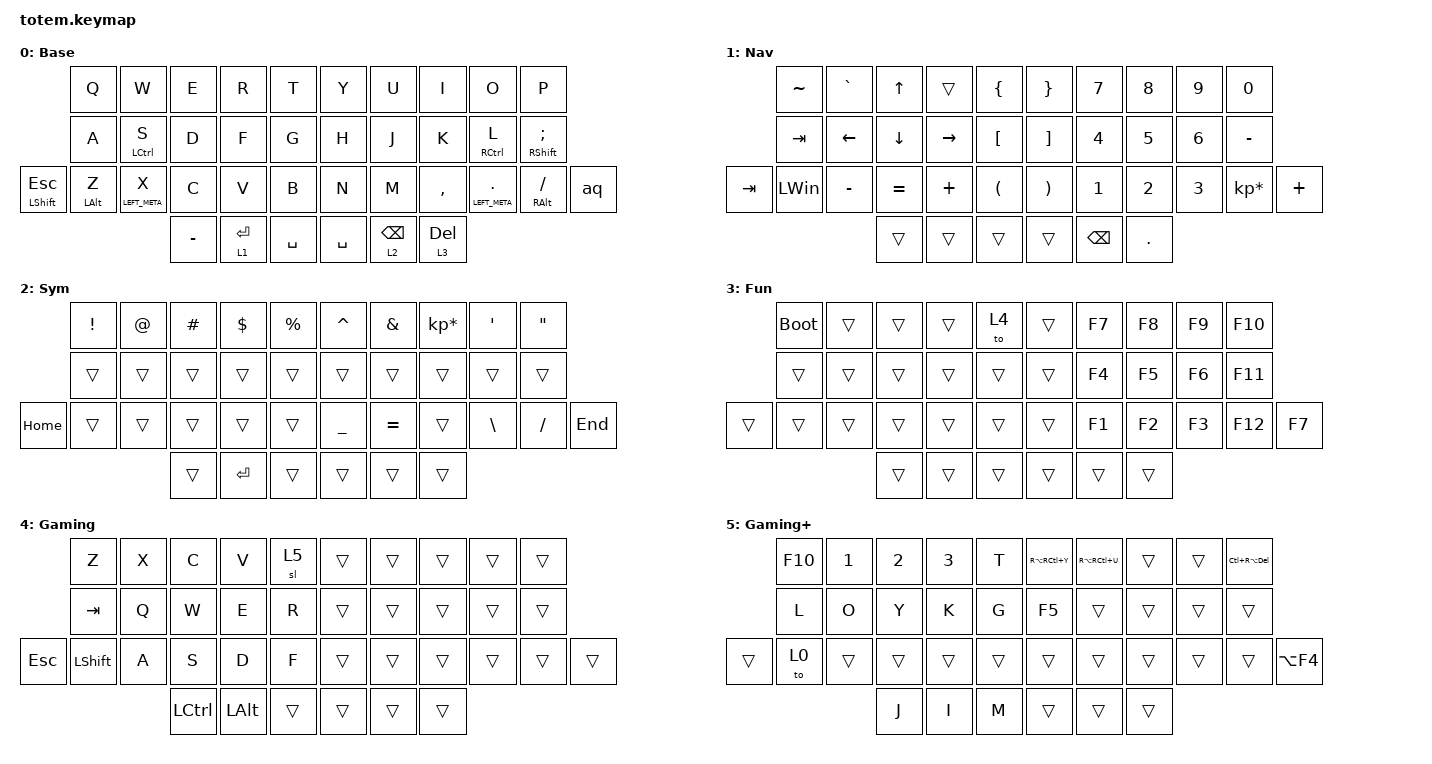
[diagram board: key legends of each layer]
//
//                                                        ▀▀▀▀▀     ▀▀▀▀▀          ▀▀█▀▀
//                                                        ▄▀▀▀▄  ▄  ▄▀▀▀▄  ▄  ▄▀▀▀▄  █  ▄▀▀▀▄
//                                                        █   █  █  █   █  █  █   █  █  █   █
//                                                         ▀▀▀   █   ▀▀▀   █   ▀▀▀   ▀   ▀▀▀
//                                                               █      ▄▄▄█▄▄▄    █   █  
//                                                               ▀      █  █  █     █▄█
//                                                             ▀▀▀▀▀    █  █  █      ▀
//                                                                      ▀  ▀  ▀
//
// ▄▄▄▄▄▄▄▄▄▄▄▄▄▄▄▄▄▄▄▄▄▄▄▄▄▄▄▄▄▄▄▄▄▄▄▄▄▄▄▄▄▄▄▄▄▄▄▄▄▄▄▄▄▄▄▄▄▄▄▄▄▄▄▄▄▄▄▄▄▄▄▄▄▄▄▄▄▄▄▄▄▄▄▄▄▄▄▄▄▄▄▄▄▄▄▄▄▄▄▄▄▄▄▄▄▄▄▄▄▄▄▄▄▄▄▄▄▄▄▄▄▄▄▄▄▄▄▄▄▄▄▄▄▄▄▄▄▄▄▄▄▄▄▄▄▄▄▄▄

#include <behaviors.dtsi>
#include <dt-bindings/zmk/keys.h>

#define Base        0
#define Media       1
#define Nav         2
#define Mouse       3
#define Sym         4
#define Num         5
#define Fun         6
#define Button      7
#define Game        8
#define Gameplus    9

&mt {
    quick-tap-ms = <100>;
    global-quick-tap;
    flavor = "tap-preferred";
    tapping-term-ms = <170>;
};

&lt {
    tapping-term-ms = <240>;
    flavor = "balanced";
    quick-tap-ms = <150>;
};

/ {
    behaviors {
        // SHIFT on the two outer bottom-row keys (left: tap = Esc, right:
        // tap = ') — physically where shift sits on a normal keyboard.
        // "hold-preferred" fires shift the moment any other key goes down while
        // this is held, so a mash + pinky-first release always capitalizes. No
        // positional gating and no idle guard, so same-hand capitals work too.
        // NO retro-tap on purpose: an aborted shift (hold >200ms, press nothing)
        // emits NOTHING rather than a stray Esc/' at the focused window; the
        // trade is a lone tap must be released within the tapping term.
        // History: left shift was a home-row mod on A (see hps_r for the config),
        // but fast cross-hand a-words ("and", "want", "can't" -> "Nd", "wNt",
        // "cN't") are mechanically identical to an intentional shift mash —
        // no hold-tap flavor can tell them apart, so it was moved here.
        hs: hold_shift {
            compatible = "zmk,behavior-hold-tap";
            label = "HOLD_SHIFT";
            #binding-cells = <2>;
            bindings = <&kp>, <&kp>;
            flavor = "hold-preferred";
            tapping-term-ms = <200>;
            quick-tap-ms = <175>;
        };

        // Context-aware ' / right-shift key (antecedent-morph module, aka
        // adaptive keys). If the most recently RELEASED key within 300ms was a
        // letter, we're mid-word -> plain apostrophe, so contractions ("don't",
        // "it's") can never misfire a shift. Otherwise — after space / enter /
        // backspace / any pause — it's the hold-tap shift, so word-start
        // capitals mash like a normal keyboard. Conditions on WHAT was typed,
        // not how fast, which is why this works where require-prior-idle didn't.
        // Caveat: if space is still physically held when ' goes down (deep
        // space->shift roll), the antecedent is the previous word's last letter
        // -> plain ' -> missed capital. Tune max-delay-ms down if that bites.
        aq: adaptive_quote {
            compatible = "zmk,behavior-antecedent-morph";
            #binding-cells = <0>;
            defaults = <&hs RIGHT_SHIFT APOSTROPHE>;
            antecedents = <A B C D E F G H I J K L M N O P Q R S T U V W X Y Z>;
            bindings = <&kp APOSTROPHE>, <&kp APOSTROPHE>, <&kp APOSTROPHE>,
                       <&kp APOSTROPHE>, <&kp APOSTROPHE>, <&kp APOSTROPHE>,
                       <&kp APOSTROPHE>, <&kp APOSTROPHE>, <&kp APOSTROPHE>,
                       <&kp APOSTROPHE>, <&kp APOSTROPHE>, <&kp APOSTROPHE>,
                       <&kp APOSTROPHE>, <&kp APOSTROPHE>, <&kp APOSTROPHE>,
                       <&kp APOSTROPHE>, <&kp APOSTROPHE>, <&kp APOSTROPHE>,
                       <&kp APOSTROPHE>, <&kp APOSTROPHE>, <&kp APOSTROPHE>,
                       <&kp APOSTROPHE>, <&kp APOSTROPHE>, <&kp APOSTROPHE>,
                       <&kp APOSTROPHE>, <&kp APOSTROPHE>;
            max-delay-ms = <300>;
        };

        // RIGHT SHIFT stays on home-row ';' — unlike 'a', ';' followed quickly by
        // a letter never happens in prose, so it doesn't suffer the a-word
        // misfires. hold-preferred + retro-tap, trigger zone = left hand only.
        hps_r: homerow_shift_right {
            compatible = "zmk,behavior-hold-tap";
            label = "HRS_RIGHT";
            #binding-cells = <2>;
            bindings = <&kp>, <&kp>;
            flavor = "hold-preferred";
            tapping-term-ms = <200>;
            quick-tap-ms = <175>;
            retro-tap;
            hold-trigger-key-positions = <0 1 2 3 4 10 11 12 13 14 20 21 22 23 24 25>;
        };

        // CTRL on the home-row ring fingers (S / L). "balanced" is safer against
        // roll misfires for keys you don't mash like shift. Same positional gating.
        hm_l: homerow_mod_left {
            compatible = "zmk,behavior-hold-tap";
            label = "HRM_LEFT";
            #binding-cells = <2>;
            bindings = <&kp>, <&kp>;
            flavor = "balanced";
            tapping-term-ms = <280>;
            quick-tap-ms = <175>;
            require-prior-idle-ms = <150>;
            hold-trigger-key-positions = <5 6 7 8 9 15 16 17 18 19 26 27 28 29 30 31 32 33 34 35 36 37>;
            hold-trigger-on-release;
        };

        hm_r: homerow_mod_right {
            compatible = "zmk,behavior-hold-tap";
            label = "HRM_RIGHT";
            #binding-cells = <2>;
            bindings = <&kp>, <&kp>;
            flavor = "balanced";
            tapping-term-ms = <280>;
            quick-tap-ms = <175>;
            require-prior-idle-ms = <150>;
            hold-trigger-key-positions = <0 1 2 3 4 10 11 12 13 14 20 21 22 23 24 25 32 33 34 35 36 37>;
            hold-trigger-on-release;
        };
    };

    combos {
        compatible = "zmk,combos";

        altTab {
            bindings = <&kp LA(TAB)>;
            key-positions = <32 10>;
        };

        // Capital "I" — press J + L together (right index + ring). "jl" is never a
        // real digraph and the tight timeout means sequential typing won't trigger
        // it, so this is a misfire-proof way to type the pronoun "I" without relying
        // on the home-row shift at all.
        iCombo {
            bindings = <&kp LS(I)>;
            key-positions = <16 18>;
            timeout-ms = <40>;
            layers = <0>;
        };
    };

    keymap {
        compatible = "zmk,keymap";

        Base {
            label = "Base";
            bindings = <
              &kp Q               &kp W               &kp E      &kp R        &kp T        &kp Y      &kp U            &kp I       &kp O                 &kp P
              &kp A               &hm_l LEFT_CONTROL S &kp D     &kp F        &kp G        &kp H      &kp J            &kp K       &hm_r RIGHT_CONTROL L &hps_r RIGHT_SHIFT SEMICOLON
&hs LEFT_SHIFT ESCAPE  &mt LEFT_ALT Z &mt LEFT_META X  &kp C     &kp V        &kp B        &kp N      &kp M            &kp COMMA   &mt LEFT_META PERIOD  &mt RIGHT_ALT SLASH          &aq
                                                      &kp MINUS  &lt 1 ENTER  &kp SPACE    &kp SPACE  &lt 2 BACKSPACE  &lt 3 DELETE
            >;
        };

        Nav {
            label = "Nav";
            bindings = <
         &kp TILDE     &kp GRAVE  &kp UP_ARROW  &trans     &kp LBRC    &kp RBRC  &kp NUMBER_7   &kp NUMBER_8  &kp NUMBER_9  &kp NUMBER_0
         &kp TAB       &kp LEFT   &kp DOWN      &kp RIGHT  &kp LBKT    &kp RBKT  &kp NUMBER_4   &kp NUMBER_5  &kp NUMBER_6  &kp MINUS
&kp TAB  &kp LEFT_WIN  &kp MINUS  &kp EQUAL     &kp PLUS   &kp LPAR    &kp RPAR  &kp NUMBER_1   &kp NUMBER_2  &kp NUMBER_3  &kp KP_MULTIPLY  &kp PLUS
                                  &trans        &trans     &trans      &trans    &kp BACKSPACE  &kp DOT
            >;
        };

        Sym {
            label = "Sym";
            bindings = <
          &kp EXCL  &kp AT  &kp HASH  &kp DOLLAR  &kp PERCENT    &kp CARET  &kp AMPERSAND  &kp KP_ASTERISK  &kp SQT        &kp DQT
          &trans    &trans  &trans    &trans      &trans         &trans     &trans         &trans           &trans         &trans
&kp HOME  &trans    &trans  &trans    &trans      &trans         &kp UNDER  &kp EQUAL      &trans           &kp BACKSLASH  &kp SLASH  &kp END
                            &trans    &kp ENTER   &trans         &trans     &trans         &trans
            >;
        };

        Fun {
            label = "Fun";
            bindings = <
        &bootloader  &trans  &trans  &trans  &to 4     &trans  &kp F7  &kp F8  &kp F9  &kp F10
        &trans       &trans  &trans  &trans  &trans    &trans  &kp F4  &kp F5  &kp F6  &kp F11
&trans  &trans       &trans  &trans  &trans  &trans    &trans  &kp F1  &kp F2  &kp F3  &kp F12  &kp F7
                             &trans  &trans  &trans    &trans  &trans  &trans
            >;
        };

        Gaming {
            bindings = <
            &kp Z           &kp X  &kp C      &kp V         &sl 5     &trans  &trans  &trans  &trans  &trans
            &kp TAB         &kp Q  &kp W      &kp E         &kp R     &trans  &trans  &trans  &trans  &trans
&kp ESCAPE  &kp LEFT_SHIFT  &kp A  &kp S      &kp D         &kp F     &trans  &trans  &trans  &trans  &trans  &trans
                                   &kp LCTRL  &kp LEFT_ALT  &trans    &trans  &trans  &trans
            >;

            label = "Gaming";
        };

        Gaming+ {
            bindings = <
        &kp F10  &kp NUMBER_1  &kp NUMBER_2  &kp NUMBER_3  &kp T     &kp RA(RC(Y))  &kp RA(RC(U))  &trans  &trans  &kp LC(RA(DEL))
        &kp L    &kp O         &kp Y         &kp K         &kp G     &kp F5         &trans         &trans  &trans  &trans
&trans  &to 0    &trans        &trans        &trans        &trans    &trans         &trans         &trans  &trans  &trans           &kp LA(F4)
                               &kp J         &kp I         &kp M     &trans         &trans         &trans
            >;

            label = "Gaming+";
        };
    };
};
